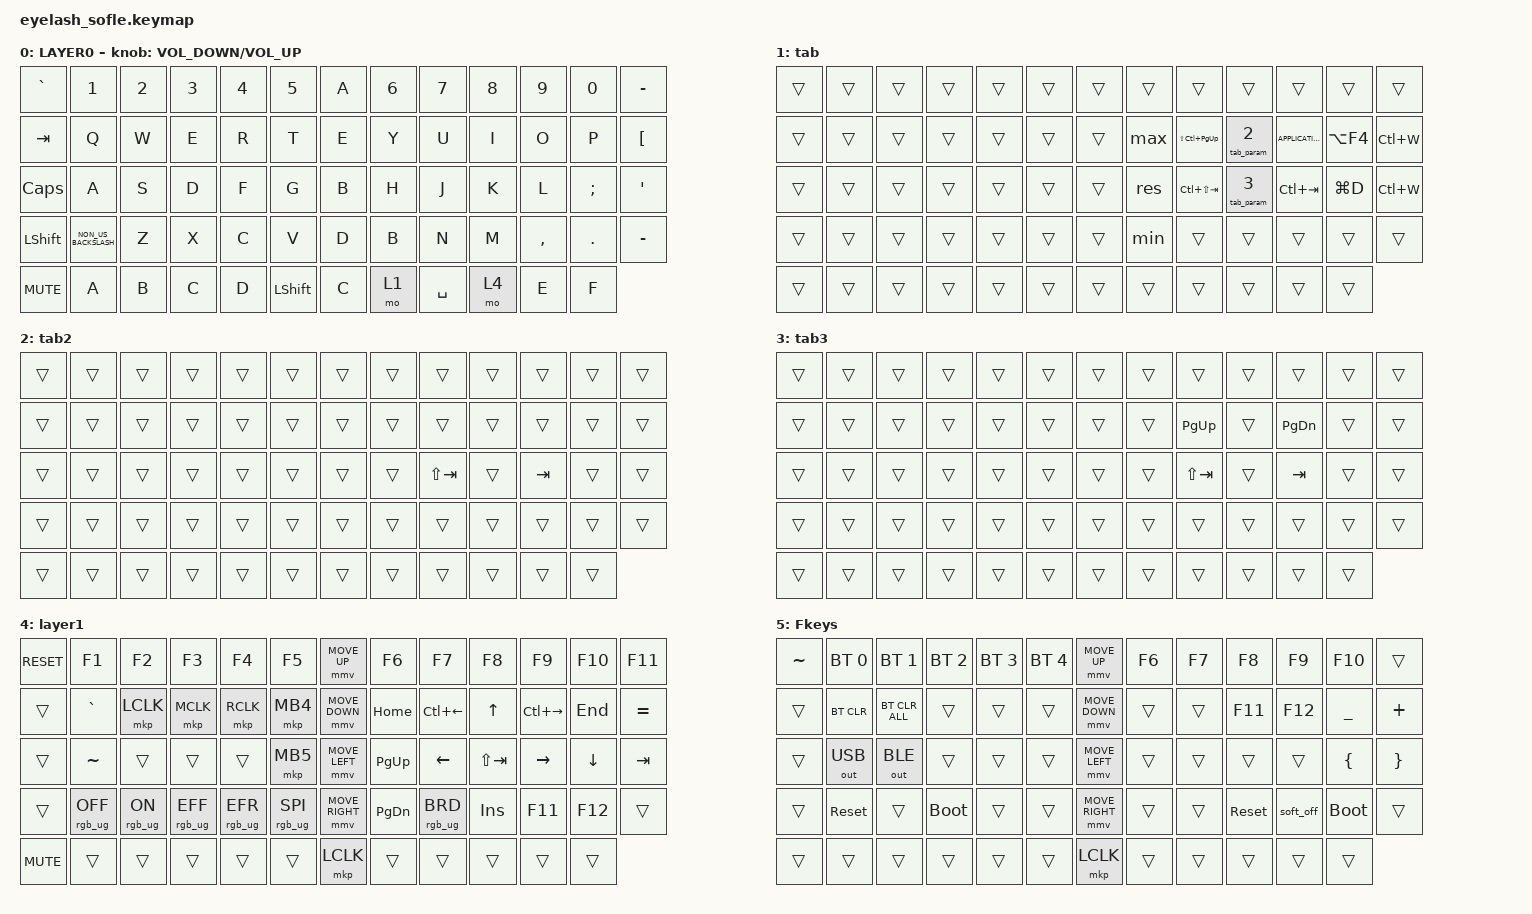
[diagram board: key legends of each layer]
#define ZMK_POINTING_DEFAULT_MOVE_VAL 1200  // 600
#define ZMK_POINTING_DEFAULT_SCRL_VAL 25   // 10

#include <input/processors.dtsi>
#include <zephyr/dt-bindings/input/input-event-codes.h>
#include <behaviors.dtsi>
#include <dt-bindings/zmk/bt.h>
#include <dt-bindings/zmk/keys.h>
#include <dt-bindings/zmk/outputs.h>
#include <dt-bindings/zmk/pointing.h>
#include <dt-bindings/zmk/rgb.h>

&mmv_input_listener { input-processors = <&zip_xy_scaler 2 1>; };

&msc_input_listener { input-processors = <&zip_scroll_scaler 2 1>; };

&msc {
    acceleration-exponent = <1>;      // 0
    time-to-max-speed-ms = <100>;       // 300
    delay-ms = <0>;                   // 0
};

&mmv {
    time-to-max-speed-ms = <500>;
    acceleration-exponent = <1>;
    trigger-period-ms = <16>;
};

/ {
    scroll_encoder: scroll_encoder {
        compatible = "zmk,behavior-sensor-rotate";
        #sensor-binding-cells = <0>;
        bindings = <&msc SCRL_DOWN>, <&msc SCRL_UP>;

        tap-ms = <100>;
    };

    behaviors {
    };

    macros {
        max: max {
            compatible = "zmk,behavior-macro";
            #binding-cells = <0>;
            bindings = <&kp LA(SPACE) &kp X>;
            label = "MAX";
        };

        res: res {
            compatible = "zmk,behavior-macro";
            #binding-cells = <0>;
            bindings = <&kp LA(SPACE) &kp R>;
            label = "RES";
        };

        min: min {
            compatible = "zmk,behavior-macro";
            #binding-cells = <0>;
            bindings = <&kp LA(BACKSPACE) &kp N>;
            label = "MIN";
        };

        tabmod: tabmod {
            compatible = "zmk,behavior-macro";
            #binding-cells = <0>;
            bindings = <&macro_press>, <&mo 2 &kp LEFT_ALT>;

            label = "TABMOD";
        };

        tab_param: tab_param {
            compatible = "zmk,behavior-macro-one-param";
            #binding-cells = <1>;
            bindings = <&macro_param_1to1 &mo MACRO_PLACEHOLDER &kp LEFT_ALT>;
            label = "TAB_PARAM";
        };
    };

    keymap {
        compatible = "zmk,keymap";

        layer0 {
            bindings = <
&kp GRAVE   &kp N1                &kp N2  &kp N3  &kp N4  &kp N5            &kp A  &kp N6  &kp N7     &kp N8  &kp N9     &kp N0      &kp MINUS
&kp TAB     &kp Q                 &kp W   &kp E   &kp R   &kp T             &kp E  &kp Y   &kp U      &kp I   &kp O      &kp P       &kp LEFT_BRACKET
&kp CAPS    &kp A                 &kp S   &kp D   &kp F   &kp G             &kp B  &kp H   &kp J      &kp K   &kp L      &kp SEMI    &kp APOS
&kp LSHFT   &kp NON_US_BACKSLASH  &kp Z   &kp X   &kp C   &kp V             &kp D  &kp B   &kp N      &kp M   &kp COMMA  &kp PERIOD  &kp MINUS
&kp K_MUTE  &kp A                 &kp B   &kp C   &kp D   &kp LEFT_SHIFT    &kp C  &mo 1   &kp SPACE  &mo 4   &kp E      &kp F
            >;

            display-name = "LAYER0";
            sensor-bindings = <&inc_dec_kp C_VOLUME_DOWN C_VOLUME_UP>;
        };

        tab {
            bindings = <
&trans  &trans  &trans  &trans  &trans  &trans    &trans  &trans  &trans             &trans        &trans             &trans      &trans
&trans  &trans  &trans  &trans  &trans  &trans    &trans  &max    &kp LS(LC(PG_UP))  &tab_param 2  &kp K_APPLICATION  &kp LA(F4)  &kp LC(W)
&trans  &trans  &trans  &trans  &trans  &trans    &trans  &res    &kp LC(LS(TAB))    &tab_param 3  &kp LC(TAB)        &kp LG(D)   &kp LC(W)
&trans  &trans  &trans  &trans  &trans  &trans    &trans  &min    &trans             &trans        &trans             &trans      &trans
&trans  &trans  &trans  &trans  &trans  &trans    &trans  &trans  &trans             &trans        &trans             &trans
            >;
        };

        tab2 {
            bindings = <
&trans  &trans  &trans  &trans  &trans  &trans    &trans  &trans  &trans       &trans  &trans   &trans  &trans
&trans  &trans  &trans  &trans  &trans  &trans    &trans  &trans  &trans       &trans  &trans   &trans  &trans
&trans  &trans  &trans  &trans  &trans  &trans    &trans  &trans  &kp LS(TAB)  &trans  &kp TAB  &trans  &trans
&trans  &trans  &trans  &trans  &trans  &trans    &trans  &trans  &trans       &trans  &trans   &trans  &trans
&trans  &trans  &trans  &trans  &trans  &trans    &trans  &trans  &trans       &trans  &trans   &trans
            >;
        };

        tab3 {
            bindings = <
&trans  &trans  &trans  &trans  &trans  &trans    &trans  &trans  &trans       &trans  &trans     &trans  &trans
&trans  &trans  &trans  &trans  &trans  &trans    &trans  &trans  &kp PG_UP    &trans  &kp PG_DN  &trans  &trans
&trans  &trans  &trans  &trans  &trans  &trans    &trans  &trans  &kp LS(TAB)  &trans  &kp TAB    &trans  &trans
&trans  &trans  &trans  &trans  &trans  &trans    &trans  &trans  &trans       &trans  &trans     &trans  &trans
&trans  &trans  &trans  &trans  &trans  &trans    &trans  &trans  &trans       &trans  &trans     &trans
            >;
        };

        nav {
            bindings = <
&kp C_RESET  &kp F1           &kp F2          &kp F3           &kp F4           &kp F5             &mmv MOVE_UP     &kp F6     &kp F7           &kp F8       &kp F9         &kp F10   &kp F11
&trans       &kp GRAVE        &mkp LCLK       &mkp MCLK        &mkp RCLK        &mkp MB4           &mmv MOVE_DOWN   &kp HOME   &kp LC(LEFT)     &kp UP       &kp LC(RIGHT)  &kp END   &kp EQUAL
&trans       &kp TILDE        &trans          &trans           &trans           &mkp MB5           &mmv MOVE_LEFT   &kp PG_UP  &kp LEFT         &kp LS(TAB)  &kp RIGHT      &kp DOWN  &kp TAB
&trans       &rgb_ug RGB_OFF  &rgb_ug RGB_ON  &rgb_ug RGB_EFF  &rgb_ug RGB_EFR  &rgb_ug RGB_SPI    &mmv MOVE_RIGHT  &kp PG_DN  &rgb_ug RGB_BRD  &kp INSERT   &kp F11        &kp F12   &trans
&kp C_MUTE   &trans           &trans          &trans           &trans           &trans             &mkp LCLK        &trans     &trans           &trans       &trans         &trans
            >;

            display-name = "layer1";
        };

        Fkeys {
            bindings = <
&kp TILDE  &bt BT_SEL 0  &bt BT_SEL 1    &bt BT_SEL 2  &bt BT_SEL 3  &bt BT_SEL 4    &mmv MOVE_UP     &kp F6  &kp F7  &kp F8      &kp F9     &kp F10      &trans
&trans     &bt BT_CLR    &bt BT_CLR_ALL  &trans        &trans        &trans          &mmv MOVE_DOWN   &trans  &trans  &kp F11     &kp F12    &kp UNDER    &kp PLUS
&trans     &out OUT_USB  &out OUT_BLE    &trans        &trans        &trans          &mmv MOVE_LEFT   &trans  &trans  &trans      &trans     &kp LBRC     &kp RBRC
&trans     &sys_reset    &trans          &bootloader   &trans        &trans          &mmv MOVE_RIGHT  &trans  &trans  &sys_reset  &soft_off  &bootloader  &trans
&trans     &trans        &trans          &trans        &trans        &trans          &mkp LCLK        &trans  &trans  &trans      &trans     &trans
            >;
        };
    };
};
